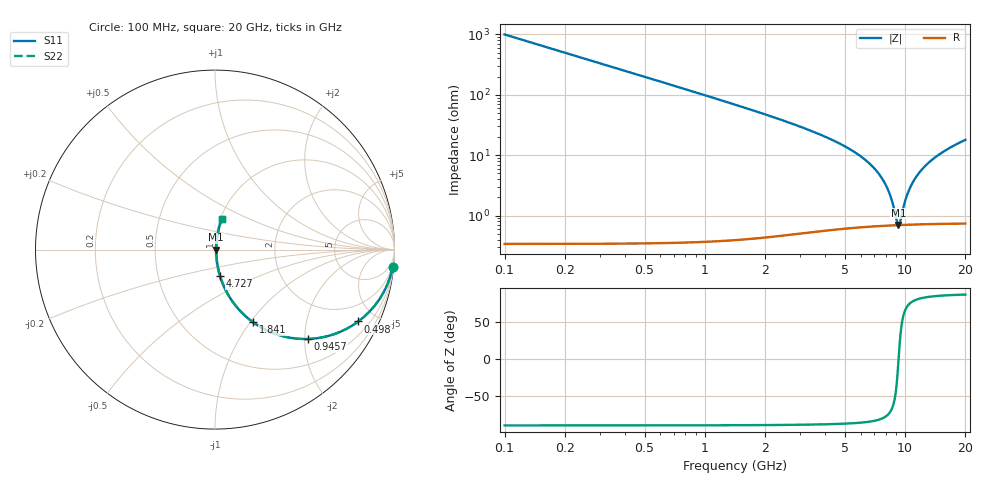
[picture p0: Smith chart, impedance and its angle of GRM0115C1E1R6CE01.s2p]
!Murata Part Number: GRM0115C1E1R6CE01
!These Parameters are Measured in Series Mode Connection
!Data Generated on Mar 30, 2021
!  o--ll--o
!Port1  Port2
!  o------o
!Operation Temp=25[degC], DC Bias Voltage=0[V]
!Freq. Start=100[MHz] Stop=20[GHz] 401[Steps]
# Hz S RI R 50
!Freq.(Hz) S11(Real) S11(Imag) S21(Real) S21(Imag) S12(Real) S12(Imag) S22(Real) S22(Imag)
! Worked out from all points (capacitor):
!   401 points, 100 MHz to 20 GHz, reference 50 ohm
!   read as one part in series: C = 1.6 pF near 199.5 MHz
!   lowest |Z| = 697 mohm at 9.254 GHz (marker M1)
!   series resonance near 9.278 GHz, so ESL is about 180 pH
!   S11 on the Smith chart (normalised r, x): 100 MHz: 1, -20; 498 MHz: 1.01, -3.98; 945.8 MHz: 1.01, -2.08; 1.841 GHz: 1.01, -1.04; 4.727 GHz: 1.01, -0.31; 20 GHz: 1.01, +0.36
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1e8  0.99 -0.0995  0.01 0.0995  0.01 0.0995  0.99 -0.0995
2.99e8  0.9167 -0.2758  0.0833 0.2758  0.0833 0.2758  0.9167 -0.2758
4.98e8  0.7982 -0.4005  0.2018 0.4005  0.2018 0.4005  0.7982 -0.4005
9.4575e8  0.5195 -0.4979  0.4805 0.4979  0.4805 0.4979  0.5195 -0.4979
1.34375e9  0.3445 -0.4725  0.6555 0.4725  0.6555 0.4725  0.3445 -0.4725
1.84125e9  0.2132 -0.4055  0.7868 0.4055  0.7868 0.4055  0.2132 -0.4055
2.488e9  0.1233 -0.3225  0.8767 0.3225  0.8767 0.3225  0.1233 -0.3225
3.43325e9  0.0626 -0.2317  0.9374 0.2317  0.9374 0.2317  0.0626 -0.2317
4.72675e9  0.0288 -0.1492  0.9712 0.1492  0.9712 0.1492  0.0288 -0.1492
6.7665e9  0.0111 -0.0669  0.9889 0.0669  0.9889 0.0669  0.0111 -0.0669
7.5625e9  0.00854 -0.043  0.9915 0.043  0.9915 0.043  0.00854 -0.043
8.1595e9  0.0075 -0.0269  0.9925 0.0269  0.9925 0.0269  0.0075 -0.0269
8.5575e9  0.00711 -0.0169  0.9929 0.0169  0.9929 0.0169  0.00711 -0.0169
9.10475e9  0.0069 -0.00393  0.9931 0.00393  0.9931 0.00393  0.0069 -0.00393
9.254e9  0.0069 -0.000533  0.9931 0.000533  0.9931 0.000533  0.0069 -0.000533
9.453e9  0.00693 0.00392  0.9931 -0.00392  0.9931 -0.00392  0.00693 0.00392
1.005e10  0.00725 0.0167  0.9927 -0.0167  0.9927 -0.0167  0.00725 0.0167
1.059725e10  0.0078 0.0278  0.9922 -0.0278  0.9922 -0.0278  0.0078 0.0278
1.129375e10  0.00878 0.0413  0.9912 -0.0413  0.9912 -0.0413  0.00878 0.0413
1.338325e10  0.0133 0.0777  0.9867 -0.0777  0.9867 -0.0777  0.0133 0.0777
1.67165e10  0.024 0.1279  0.976 -0.1279  0.976 -0.1279  0.024 0.1279
2e10  0.0377 0.1711  0.9623 -0.1711  0.9623 -0.1711  0.0377 0.1711
